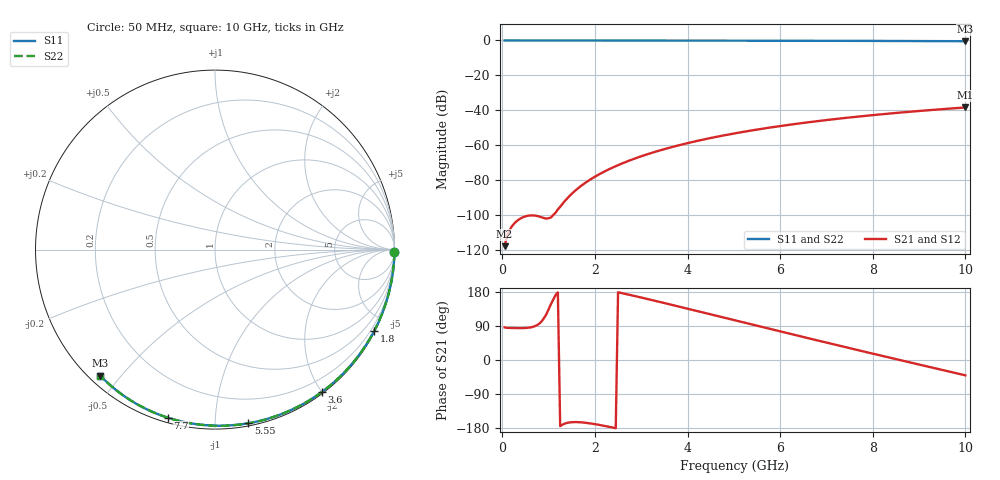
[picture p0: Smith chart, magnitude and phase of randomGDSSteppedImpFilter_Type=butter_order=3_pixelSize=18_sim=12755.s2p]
! freq	dB(S11)	phase(S11)	dB(S12)	phase(S12)
!  dB(S21)	phase(S21)	dB(S22)	phase(S22)
!S-par simulation data
#  GHz  S  DB  R 50
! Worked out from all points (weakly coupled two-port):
!   200 points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, 50 MHz to 10 GHz, reference 50 ohm
!   highest |S21| = -38.32 dB at 10 GHz (marker M1); lowest = -117.7 dB at 50 MHz (marker M2)
!   lowest |S11| = -0.4 dB at 10 GHz (marker M3), VSWR 38.85, Z = 1.54 - j22.1 ohm
!   |S11| at or under -10 dB: nowhere
!   |S22| runs from -0.4 to 0.0 dB; largest |S21 - S12| = 0
!   S11 on the Smith chart (normalised r, x): 50 MHz: open; 1.8 GHz: 0.04, -4.15; 3.6 GHz: 0.02, -2.01; 5.55 GHz: 0.02, -1.21; 7.7 GHz: 0.02, -0.76; 10 GHz: 0.03, -0.44
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0.05  -0.00 -0.8  -117.66 86.0  -117.66 86.0  -0.00 -0.8
0.9  -0.02 -13.7  -101.58 110.6  -101.58 110.6  -0.02 -13.7
1.75  -0.03 -26.4  -82.23 -165.0  -82.23 -165.0  -0.03 -26.4
1.8  -0.03 -27.1  -81.29 -165.7  -81.29 -165.7  -0.03 -27.1
1.85  -0.04 -27.8  -80.40 -166.4  -80.40 -166.4  -0.04 -27.8
1.9  -0.04 -28.6  -79.55 -167.3  -79.55 -167.3  -0.04 -28.6
2.05  -0.04 -30.8  -77.17 -170.3  -77.17 -170.3  -0.04 -30.8
2.25  -0.04 -33.7  -74.36 -174.9  -74.36 -174.9  -0.04 -33.7
2.45  -0.05 -36.6  -71.88 -180.0  -71.88 -180.0  -0.05 -36.6
2.65  -0.05 -39.5  -69.66 174.7  -69.66 174.7  -0.05 -39.5
3  -0.06 -44.5  -66.25 164.8  -66.25 164.8  -0.06 -44.5
3.4  -0.07 -50.2  -62.91 153.2  -62.91 153.2  -0.07 -50.2
3.6  -0.07 -53.0  -61.42 147.3  -61.42 147.3  -0.07 -53.0
4.3  -0.09 -62.6  -56.91 126.4  -56.91 126.4  -0.09 -62.6
5.05  -0.11 -72.6  -52.99 103.9  -52.99 103.9  -0.11 -72.6
5.55  -0.13 -79.1  -50.76 89.0  -50.76 89.0  -0.13 -79.1
6.1  -0.15 -86.1  -48.59 72.5  -48.59 72.5  -0.15 -86.1
6.7  -0.18 -93.6  -46.49 54.8  -46.49 54.8  -0.18 -93.6
7.7  -0.24 -105.7  -43.50 25.4  -43.50 25.4  -0.24 -105.7
8.35  -0.29 -113.3  -41.83 6.6  -41.83 6.6  -0.29 -113.3
9.15  -0.36 -122.6  -40.01 -16.3  -40.01 -16.3  -0.36 -122.6
10  -0.45 -132.2  -38.32 -40.5  -38.32 -40.5  -0.45 -132.2
